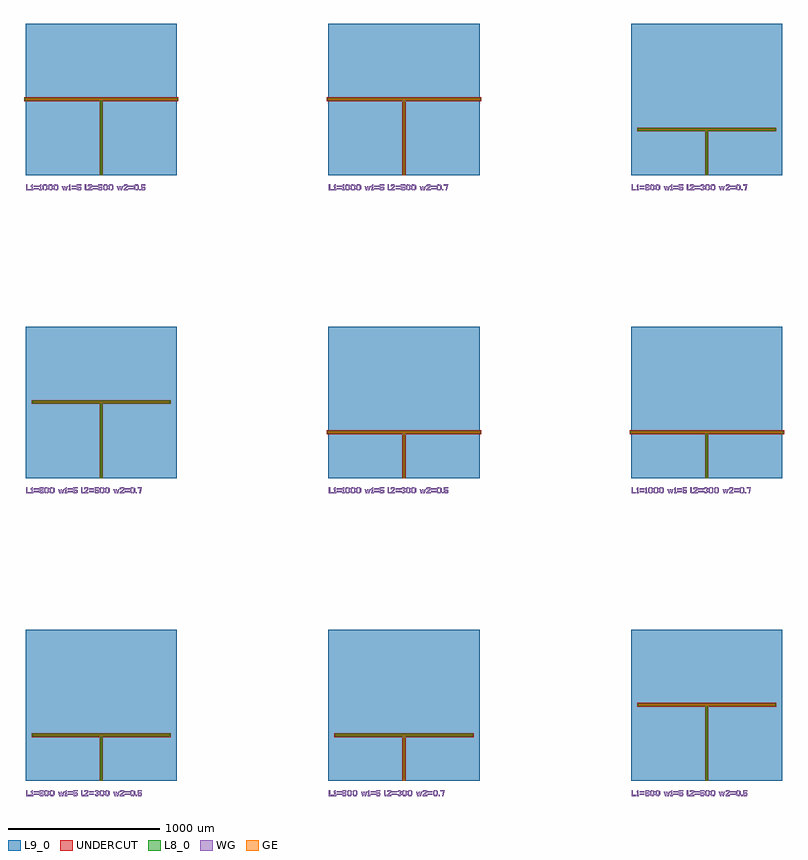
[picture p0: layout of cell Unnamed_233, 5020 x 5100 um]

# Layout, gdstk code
import gdstk
lib = gdstk.Library(unit=1e-6, precision=1e-09)
def R(c, l, rs):  # rectangles x0, y0, x1, y1
    for r in rs: c.add(gdstk.rectangle(r[:2], r[2:], *l))
def P(c, l, *ps):  # polygons
    for p in ps: c.add(gdstk.Polygon(p, *l))
WG = (1, 0)
GE = (5, 0)
UNDERCUT = (6, 0)
L8_0 = (8, 0)
L9_0 = (9, 0)

rectangle_s1010_15_l8_0_ = lib.new_cell('rectangle_S1010_15_L8_0_e804bbd6')
R(rectangle_s1010_15_l8_0_, L8_0, [(0,0,1010,15)])

rectangle_s1020_25_l6_0_ = lib.new_cell('rectangle_S1020_25_L6_0_10ee7e5b')
R(rectangle_s1020_25_l6_0_, UNDERCUT, [(0,0,1020,25)])

rectangle_s0p7_500_l5_0_ = lib.new_cell('rectangle_S0p7_500_L5_0_5f5ccab6')
R(rectangle_s0p7_500_l5_0_, GE, [(0,0,0.7,500)])

rectangle_s20p7_490_l6__ = lib.new_cell('rectangle_S20p7_490_L6__c76dff1f')
R(rectangle_s20p7_490_l6__, UNDERCUT, [(0,0,20.7,490)])

rectangle_s1000_5_l5_0__ = lib.new_cell('rectangle_S1000_5_L5_0__84b42d38')
R(rectangle_s1000_5_l5_0__, GE, [(0,0,1000,5)])

rectangle_s10p7_495_l8__ = lib.new_cell('rectangle_S10p7_495_L8__2b4584b7')
R(rectangle_s10p7_495_l8__, L8_0, [(0,0,10.7,495)])

unnamed_231 = lib.new_cell('Unnamed_231')
unnamed_231.add(gdstk.Reference(rectangle_s1010_15_l8_0_, (-505,495)))
unnamed_231.add(gdstk.Reference(rectangle_s1020_25_l6_0_, (-510,490)))
unnamed_231.add(gdstk.Reference(rectangle_s0p7_500_l5_0_, (-0.35,0)))
unnamed_231.add(gdstk.Reference(rectangle_s20p7_490_l6__, (-10.35,0)))
unnamed_231.add(gdstk.Reference(rectangle_s1000_5_l5_0__, (-500,500)))
unnamed_231.add(gdstk.Reference(rectangle_s10p7_495_l8__, (-5.35,0)))

text_tl11000_w15_l2500__ = lib.new_cell('text_TL11000_w15_l2500__574275dc')
R(text_tl11000_w15_l2500__, WG, [(752,0,760,8), (56,8,88,16), (304,8,336,16), (444,8,476,16), (680,8,712,16), (56,24,88,32), (304,24,336,32), (444,24,476,32), (680,24,712,32)])
P(text_tl11000_w15_l2500__, WG, [(396,0),(392,4),(392,40),(400,40),(400,8),(408,8),(408,0)],
  [(344,0),(340,4),(340,12),(348,12),(348,8),(360,8),(360,16),(344,16),(340,20),(340,40),(368,40),(368,32),(348,32),(348,24),(364,24),(368,20),(368,4),(364,0)],
  [(484,0),(480,4),(480,12),(488,12),(488,8),(500,8),(500,16),(484,16),(480,20),(480,40),(508,40),(508,32),(488,32),(488,24),(504,24),(508,20),(508,4),(504,0)],
  [(768,0),(764,4),(764,12),(772,12),(772,8),(784,8),(784,16),(768,16),(764,20),(764,40),(792,40),(792,32),(772,32),(772,24),(788,24),(792,20),(792,4),(788,0)],
  [(126.8,0),(128.8,8),(132,8),(136,12),(136,28),(132,32),(134,40),(136,40),(144,32),(144,8),(136,0)],
  [(162.8,0),(164.8,8),(168,8),(172,12),(172,28),(168,32),(170,40),(172,40),(180,32),(180,8),(172,0)],
  [(198.8,0),(200.8,8),(204,8),(208,12),(208,28),(204,32),(206,40),(208,40),(216,32),(216,8),(208,0)],
  [(526.8,0),(528.8,8),(532,8),(536,12),(536,28),(532,32),(534,40),(536,40),(544,32),(544,8),(536,0)],
  [(562.8,0),(564.8,8),(568,8),(572,12),(572,28),(568,32),(570,40),(572,40),(580,32),(580,8),(572,0)],
  [(730.8,0),(732.8,8),(736,8),(740,12),(740,28),(736,32),(738,40),(740,40),(748,32),(748,8),(740,0)],
  [(120,0),(112,8),(112,32),(120,40),(129.2,40),(127.2,32),(124,32),(120,28),(120,12),(124,8),(122,0)],
  [(156,0),(148,8),(148,32),(156,40),(165.2,40),(163.2,32),(160,32),(156,28),(156,12),(160,8),(158,0)],
  [(192,0),(184,8),(184,32),(192,40),(201.2,40),(199.2,32),(196,32),(192,28),(192,12),(196,8),(194,0)],
  [(520,0),(512,8),(512,32),(520,40),(529.2,40),(527.2,32),(524,32),(520,28),(520,12),(524,8),(522,0)],
  [(556,0),(548,8),(548,32),(556,40),(565.2,40),(563.2,32),(560,32),(556,28),(556,12),(560,8),(558,0)],
  [(724,0),(716,8),(716,32),(724,40),(733.2,40),(731.2,32),(728,32),(724,28),(724,12),(728,8),(726,0)],
  [(248,0),(240,28),(248,28),(252,14),(256,28),(264,28),(268,14),(272,28),(280,28),(272,0),(264,0),(260,14),(256,0)],
  [(612,0),(604,28),(612,28),(616,14),(620,28),(628,28),(632,14),(636,28),(644,28),(636,0),(628,0),(624,14),(620,0)],
  [(36,0),(36,8),(40,8),(40,24),(36,24),(36,32),(44,40),(48,40),(48,8),(52,8),(52,0)],
  [(92,0),(92,8),(96,8),(96,24),(92,24),(92,32),(100,40),(104,40),(104,8),(108,8),(108,0)],
  [(284,0),(284,8),(288,8),(288,24),(284,24),(284,32),(292,40),(296,40),(296,8),(300,8),(300,0)],
  [(412,0),(412,8),(432,28),(432,32),(420,32),(420,28),(412,28),(412,36),(416,40),(436,40),(440,36),(440,24),(424,8),(440,8),(440,0)],
  [(648,0),(648,8),(668,28),(668,32),(656,32),(656,28),(648,28),(648,36),(652,40),(672,40),(676,36),(676,24),(660,8),(676,8),(676,0)],
  [(4,0),(4,40),(12,40),(12,8),(32,8),(32,0)])

rectangle_s10p5_495_l8__ = lib.new_cell('rectangle_S10p5_495_L8__a2ef8117')
R(rectangle_s10p5_495_l8__, L8_0, [(0,0,10.5,495)])

rectangle_s20p5_490_l6__ = lib.new_cell('rectangle_S20p5_490_L6__59c9b7bc')
R(rectangle_s20p5_490_l6__, UNDERCUT, [(0,0,20.5,490)])

rectangle_s0p5_500_l5_0_ = lib.new_cell('rectangle_S0p5_500_L5_0_ba7ba93c')
R(rectangle_s0p5_500_l5_0_, GE, [(0,0,0.5,500)])

unnamed_230 = lib.new_cell('Unnamed_230')
unnamed_230.add(gdstk.Reference(rectangle_s1010_15_l8_0_, (-505,495)))
unnamed_230.add(gdstk.Reference(rectangle_s10p5_495_l8__, (-5.25,0)))
unnamed_230.add(gdstk.Reference(rectangle_s1020_25_l6_0_, (-510,490)))
unnamed_230.add(gdstk.Reference(rectangle_s20p5_490_l6__, (-10.25,0)))
unnamed_230.add(gdstk.Reference(rectangle_s1000_5_l5_0__, (-500,500)))
unnamed_230.add(gdstk.Reference(rectangle_s0p5_500_l5_0_, (-0.25,0)))

rectangle_s0p7_300_l5_0_ = lib.new_cell('rectangle_S0p7_300_L5_0_106584ea')
R(rectangle_s0p7_300_l5_0_, GE, [(0,0,0.7,300)])

rectangle_s20p7_290_l6__ = lib.new_cell('rectangle_S20p7_290_L6__7863e632')
R(rectangle_s20p7_290_l6__, UNDERCUT, [(0,0,20.7,290)])

rectangle_s10p7_295_l8__ = lib.new_cell('rectangle_S10p7_295_L8__5a437f7c')
R(rectangle_s10p7_295_l8__, L8_0, [(0,0,10.7,295)])

unnamed_229 = lib.new_cell('Unnamed_229')
unnamed_229.add(gdstk.Reference(rectangle_s0p7_300_l5_0_, (-0.35,0)))
unnamed_229.add(gdstk.Reference(rectangle_s1020_25_l6_0_, (-510,290)))
unnamed_229.add(gdstk.Reference(rectangle_s20p7_290_l6__, (-10.35,0)))
unnamed_229.add(gdstk.Reference(rectangle_s1000_5_l5_0__, (-500,300)))
unnamed_229.add(gdstk.Reference(rectangle_s1010_15_l8_0_, (-505,295)))
unnamed_229.add(gdstk.Reference(rectangle_s10p7_295_l8__, (-5.35,0)))

rectangle_s910_15_l8_0__ = lib.new_cell('rectangle_S910_15_L8_0__1d112a65')
R(rectangle_s910_15_l8_0__, L8_0, [(0,0,910,15)])

rectangle_s920_25_l6_0__ = lib.new_cell('rectangle_S920_25_L6_0__c2643c97')
R(rectangle_s920_25_l6_0__, UNDERCUT, [(0,0,920,25)])

rectangle_s900_5_l5_0_c_ = lib.new_cell('rectangle_S900_5_L5_0_C_e98a737c')
R(rectangle_s900_5_l5_0_c_, GE, [(0,0,900,5)])

unnamed_226 = lib.new_cell('Unnamed_226')
unnamed_226.add(gdstk.Reference(rectangle_s910_15_l8_0__, (-455,495)))
unnamed_226.add(gdstk.Reference(rectangle_s10p5_495_l8__, (-5.25,0)))
unnamed_226.add(gdstk.Reference(rectangle_s920_25_l6_0__, (-460,490)))
unnamed_226.add(gdstk.Reference(rectangle_s20p5_490_l6__, (-10.25,0)))
unnamed_226.add(gdstk.Reference(rectangle_s900_5_l5_0_c_, (-450,500)))
unnamed_226.add(gdstk.Reference(rectangle_s0p5_500_l5_0_, (-0.25,0)))

text_tl11000_w15_l2300__ = lib.new_cell('text_TL11000_w15_l2300__ef06bfb9')
R(text_tl11000_w15_l2300__, WG, [(752,0,760,8), (56,8,88,16), (304,8,336,16), (444,8,476,16), (680,8,712,16), (56,24,88,32), (304,24,336,32), (444,24,476,32), (680,24,712,32)])
P(text_tl11000_w15_l2300__, WG, [(488,0),(480,8),(480,12),(488,12),(492,8),(496,8),(500,12),(496,16),(496,24),(500,28),(496,32),(492,32),(488,28),(480,28),(480,32),(488,40),(500,40),(508,32),(508,24),(504,20),(508,16),(508,8),(500,0)],
  [(396,0),(392,4),(392,40),(400,40),(400,8),(408,8),(408,0)],
  [(344,0),(340,4),(340,12),(348,12),(348,8),(360,8),(360,16),(344,16),(340,20),(340,40),(368,40),(368,32),(348,32),(348,24),(364,24),(368,20),(368,4),(364,0)],
  [(768,0),(764,4),(764,12),(772,12),(772,8),(784,8),(784,16),(768,16),(764,20),(764,40),(792,40),(792,32),(772,32),(772,24),(788,24),(792,20),(792,4),(788,0)],
  [(126.8,0),(128.8,8),(132,8),(136,12),(136,28),(132,32),(134,40),(136,40),(144,32),(144,8),(136,0)],
  [(162.8,0),(164.8,8),(168,8),(172,12),(172,28),(168,32),(170,40),(172,40),(180,32),(180,8),(172,0)],
  [(198.8,0),(200.8,8),(204,8),(208,12),(208,28),(204,32),(206,40),(208,40),(216,32),(216,8),(208,0)],
  [(526.8,0),(528.8,8),(532,8),(536,12),(536,28),(532,32),(534,40),(536,40),(544,32),(544,8),(536,0)],
  [(562.8,0),(564.8,8),(568,8),(572,12),(572,28),(568,32),(570,40),(572,40),(580,32),(580,8),(572,0)],
  [(730.8,0),(732.8,8),(736,8),(740,12),(740,28),(736,32),(738,40),(740,40),(748,32),(748,8),(740,0)],
  [(120,0),(112,8),(112,32),(120,40),(129.2,40),(127.2,32),(124,32),(120,28),(120,12),(124,8),(122,0)],
  [(156,0),(148,8),(148,32),(156,40),(165.2,40),(163.2,32),(160,32),(156,28),(156,12),(160,8),(158,0)],
  [(192,0),(184,8),(184,32),(192,40),(201.2,40),(199.2,32),(196,32),(192,28),(192,12),(196,8),(194,0)],
  [(520,0),(512,8),(512,32),(520,40),(529.2,40),(527.2,32),(524,32),(520,28),(520,12),(524,8),(522,0)],
  [(556,0),(548,8),(548,32),(556,40),(565.2,40),(563.2,32),(560,32),(556,28),(556,12),(560,8),(558,0)],
  [(724,0),(716,8),(716,32),(724,40),(733.2,40),(731.2,32),(728,32),(724,28),(724,12),(728,8),(726,0)],
  [(248,0),(240,28),(248,28),(252,14),(256,28),(264,28),(268,14),(272,28),(280,28),(272,0),(264,0),(260,14),(256,0)],
  [(612,0),(604,28),(612,28),(616,14),(620,28),(628,28),(632,14),(636,28),(644,28),(636,0),(628,0),(624,14),(620,0)],
  [(36,0),(36,8),(40,8),(40,24),(36,24),(36,32),(44,40),(48,40),(48,8),(52,8),(52,0)],
  [(92,0),(92,8),(96,8),(96,24),(92,24),(92,32),(100,40),(104,40),(104,8),(108,8),(108,0)],
  [(284,0),(284,8),(288,8),(288,24),(284,24),(284,32),(292,40),(296,40),(296,8),(300,8),(300,0)],
  [(412,0),(412,8),(432,28),(432,32),(420,32),(420,28),(412,28),(412,36),(416,40),(436,40),(440,36),(440,24),(424,8),(440,8),(440,0)],
  [(648,0),(648,8),(668,28),(668,32),(656,32),(656,28),(648,28),(648,36),(652,40),(672,40),(676,36),(676,24),(660,8),(676,8),(676,0)],
  [(4,0),(4,40),(12,40),(12,8),(32,8),(32,0)])

c_text_tl11000_w15_l2300__ = lib.new_cell('text_TL11000_w15_l2300__20e685f7')
R(c_text_tl11000_w15_l2300__, WG, [(752,0,760,8), (56,8,88,16), (304,8,336,16), (444,8,476,16), (680,8,712,16), (56,24,88,32), (304,24,336,32), (444,24,476,32), (680,24,712,32)])
P(c_text_tl11000_w15_l2300__, WG, [(776,0),(782.4,32),(764,32),(764,40),(792,40),(784,0)],
  [(488,0),(480,8),(480,12),(488,12),(492,8),(496,8),(500,12),(496,16),(496,24),(500,28),(496,32),(492,32),(488,28),(480,28),(480,32),(488,40),(500,40),(508,32),(508,24),(504,20),(508,16),(508,8),(500,0)],
  [(396,0),(392,4),(392,40),(400,40),(400,8),(408,8),(408,0)],
  [(344,0),(340,4),(340,12),(348,12),(348,8),(360,8),(360,16),(344,16),(340,20),(340,40),(368,40),(368,32),(348,32),(348,24),(364,24),(368,20),(368,4),(364,0)],
  [(4,0),(4,40),(12,40),(12,8),(32,8),(32,0)],
  [(248,0),(240,28),(248,28),(252,14),(256,28),(264,28),(268,14),(272,28),(280,28),(272,0),(264,0),(260,14),(256,0)],
  [(612,0),(604,28),(612,28),(616,14),(620,28),(628,28),(632,14),(636,28),(644,28),(636,0),(628,0),(624,14),(620,0)],
  [(126.8,0),(128.8,8),(132,8),(136,12),(136,28),(132,32),(134,40),(136,40),(144,32),(144,8),(136,0)],
  [(162.8,0),(164.8,8),(168,8),(172,12),(172,28),(168,32),(170,40),(172,40),(180,32),(180,8),(172,0)],
  [(198.8,0),(200.8,8),(204,8),(208,12),(208,28),(204,32),(206,40),(208,40),(216,32),(216,8),(208,0)],
  [(526.8,0),(528.8,8),(532,8),(536,12),(536,28),(532,32),(534,40),(536,40),(544,32),(544,8),(536,0)],
  [(562.8,0),(564.8,8),(568,8),(572,12),(572,28),(568,32),(570,40),(572,40),(580,32),(580,8),(572,0)],
  [(730.8,0),(732.8,8),(736,8),(740,12),(740,28),(736,32),(738,40),(740,40),(748,32),(748,8),(740,0)],
  [(120,0),(112,8),(112,32),(120,40),(129.2,40),(127.2,32),(124,32),(120,28),(120,12),(124,8),(122,0)],
  [(156,0),(148,8),(148,32),(156,40),(165.2,40),(163.2,32),(160,32),(156,28),(156,12),(160,8),(158,0)],
  [(192,0),(184,8),(184,32),(192,40),(201.2,40),(199.2,32),(196,32),(192,28),(192,12),(196,8),(194,0)],
  [(520,0),(512,8),(512,32),(520,40),(529.2,40),(527.2,32),(524,32),(520,28),(520,12),(524,8),(522,0)],
  [(556,0),(548,8),(548,32),(556,40),(565.2,40),(563.2,32),(560,32),(556,28),(556,12),(560,8),(558,0)],
  [(724,0),(716,8),(716,32),(724,40),(733.2,40),(731.2,32),(728,32),(724,28),(724,12),(728,8),(726,0)],
  [(36,0),(36,8),(40,8),(40,24),(36,24),(36,32),(44,40),(48,40),(48,8),(52,8),(52,0)],
  [(92,0),(92,8),(96,8),(96,24),(92,24),(92,32),(100,40),(104,40),(104,8),(108,8),(108,0)],
  [(284,0),(284,8),(288,8),(288,24),(284,24),(284,32),(292,40),(296,40),(296,8),(300,8),(300,0)],
  [(412,0),(412,8),(432,28),(432,32),(420,32),(420,28),(412,28),(412,36),(416,40),(436,40),(440,36),(440,24),(424,8),(440,8),(440,0)],
  [(648,0),(648,8),(668,28),(668,32),(656,32),(656,28),(648,28),(648,36),(652,40),(672,40),(676,36),(676,24),(660,8),(676,8),(676,0)])

rectangle_s10p5_295_l8__ = lib.new_cell('rectangle_S10p5_295_L8__ffa8a64a')
R(rectangle_s10p5_295_l8__, L8_0, [(0,0,10.5,295)])

rectangle_s20p5_290_l6__ = lib.new_cell('rectangle_S20p5_290_L6__af2a2720')
R(rectangle_s20p5_290_l6__, UNDERCUT, [(0,0,20.5,290)])

rectangle_s0p5_300_l5_0_ = lib.new_cell('rectangle_S0p5_300_L5_0_bcf38b65')
R(rectangle_s0p5_300_l5_0_, GE, [(0,0,0.5,300)])

unnamed_228 = lib.new_cell('Unnamed_228')
unnamed_228.add(gdstk.Reference(rectangle_s1010_15_l8_0_, (-505,295)))
unnamed_228.add(gdstk.Reference(rectangle_s10p5_295_l8__, (-5.25,0)))
unnamed_228.add(gdstk.Reference(rectangle_s1000_5_l5_0__, (-500,300)))
unnamed_228.add(gdstk.Reference(rectangle_s1020_25_l6_0_, (-510,290)))
unnamed_228.add(gdstk.Reference(rectangle_s20p5_290_l6__, (-10.25,0)))
unnamed_228.add(gdstk.Reference(rectangle_s0p5_300_l5_0_, (-0.25,0)))

unnamed_224 = lib.new_cell('Unnamed_224')
unnamed_224.add(gdstk.Reference(rectangle_s910_15_l8_0__, (-455,295)))
unnamed_224.add(gdstk.Reference(rectangle_s10p5_295_l8__, (-5.25,0)))
unnamed_224.add(gdstk.Reference(rectangle_s920_25_l6_0__, (-460,290)))
unnamed_224.add(gdstk.Reference(rectangle_s0p5_300_l5_0_, (-0.25,0)))
unnamed_224.add(gdstk.Reference(rectangle_s900_5_l5_0_c_, (-450,300)))
unnamed_224.add(gdstk.Reference(rectangle_s20p5_290_l6__, (-10.25,0)))

text_tl1900_w15_l2500_w_ = lib.new_cell('text_TL1900_w15_l2500_w_924e79f2')
R(text_tl1900_w15_l2500_w_, WG, [(728,0,736,8), (56,8,88,16), (280,8,312,16), (420,8,452,16), (656,8,688,16), (56,24,88,32), (280,24,312,32), (420,24,452,32), (656,24,688,32)])
P(text_tl1900_w15_l2500_w_, WG, [(752,0),(758.4,32),(740,32),(740,40),(768,40),(760,0)],
  [(372,0),(368,4),(368,40),(376,40),(376,8),(384,8),(384,0)],
  [(320,0),(316,4),(316,12),(324,12),(324,8),(336,8),(336,16),(320,16),(316,20),(316,40),(344,40),(344,32),(324,32),(324,24),(340,24),(344,20),(344,4),(340,0)],
  [(460,0),(456,4),(456,12),(464,12),(464,8),(476,8),(476,16),(460,16),(456,20),(456,40),(484,40),(484,32),(464,32),(464,24),(480,24),(484,20),(484,4),(480,0)],
  [(4,0),(4,40),(12,40),(12,8),(32,8),(32,0)],
  [(224,0),(216,28),(224,28),(228,14),(232,28),(240,28),(244,14),(248,28),(256,28),(248,0),(240,0),(236,14),(232,0)],
  [(588,0),(580,28),(588,28),(592,14),(596,28),(604,28),(608,14),(612,28),(620,28),(612,0),(604,0),(600,14),(596,0)],
  [(138.8,0),(140.8,8),(144,8),(148,12),(148,28),(144,32),(146,40),(148,40),(156,32),(156,8),(148,0)],
  [(174.8,0),(176.8,8),(180,8),(184,12),(184,28),(180,32),(182,40),(184,40),(192,32),(192,8),(184,0)],
  [(502.8,0),(504.8,8),(508,8),(512,12),(512,28),(508,32),(510,40),(512,40),(520,32),(520,8),(512,0)],
  [(538.8,0),(540.8,8),(544,8),(548,12),(548,28),(544,32),(546,40),(548,40),(556,32),(556,8),(548,0)],
  [(706.8,0),(708.8,8),(712,8),(716,12),(716,28),(712,32),(714,40),(716,40),(724,32),(724,8),(716,0)],
  [(132,0),(124,8),(124,32),(132,40),(141.2,40),(139.2,32),(136,32),(132,28),(132,12),(136,8),(134,0)],
  [(168,0),(160,8),(160,32),(168,40),(177.2,40),(175.2,32),(172,32),(168,28),(168,12),(172,8),(170,0)],
  [(496,0),(488,8),(488,32),(496,40),(505.2,40),(503.2,32),(500,32),(496,28),(496,12),(500,8),(498,0)],
  [(532,0),(524,8),(524,32),(532,40),(541.2,40),(539.2,32),(536,32),(532,28),(532,12),(536,8),(534,0)],
  [(700,0),(692,8),(692,32),(700,40),(709.2,40),(707.2,32),(704,32),(700,28),(700,12),(704,8),(702,0)],
  [(96,0),(92,4),(92,12),(100,12),(100,8),(112,8),(112,16),(96,16),(92,20),(92,36),(96,40),(104,40),(104,32),(100,32),(100,24),(112,24),(112,32),(108,32),(108,40),(116,40),(120,36),(120,4),(116,0)],
  [(36,0),(36,8),(40,8),(40,24),(36,24),(36,32),(44,40),(48,40),(48,8),(52,8),(52,0)],
  [(260,0),(260,8),(264,8),(264,24),(260,24),(260,32),(268,40),(272,40),(272,8),(276,8),(276,0)],
  [(388,0),(388,8),(408,28),(408,32),(396,32),(396,28),(388,28),(388,36),(392,40),(412,40),(416,36),(416,24),(400,8),(416,8),(416,0)],
  [(624,0),(624,8),(644,28),(644,32),(632,32),(632,28),(624,28),(624,36),(628,40),(648,40),(652,36),(652,24),(636,8),(652,8),(652,0)])

unnamed_227 = lib.new_cell('Unnamed_227')
unnamed_227.add(gdstk.Reference(rectangle_s920_25_l6_0__, (-460,490)))
unnamed_227.add(gdstk.Reference(rectangle_s0p7_500_l5_0_, (-0.35,0)))
unnamed_227.add(gdstk.Reference(rectangle_s20p7_490_l6__, (-10.35,0)))
unnamed_227.add(gdstk.Reference(rectangle_s900_5_l5_0_c_, (-450,500)))
unnamed_227.add(gdstk.Reference(rectangle_s910_15_l8_0__, (-455,495)))
unnamed_227.add(gdstk.Reference(rectangle_s10p7_495_l8__, (-5.35,0)))

c_text_tl1900_w15_l2500_w_ = lib.new_cell('text_TL1900_w15_l2500_w_5df65d30')
R(c_text_tl1900_w15_l2500_w_, WG, [(728,0,736,8), (56,8,88,16), (280,8,312,16), (420,8,452,16), (656,8,688,16), (56,24,88,32), (280,24,312,32), (420,24,452,32), (656,24,688,32)])
P(c_text_tl1900_w15_l2500_w_, WG, [(372,0),(368,4),(368,40),(376,40),(376,8),(384,8),(384,0)],
  [(320,0),(316,4),(316,12),(324,12),(324,8),(336,8),(336,16),(320,16),(316,20),(316,40),(344,40),(344,32),(324,32),(324,24),(340,24),(344,20),(344,4),(340,0)],
  [(460,0),(456,4),(456,12),(464,12),(464,8),(476,8),(476,16),(460,16),(456,20),(456,40),(484,40),(484,32),(464,32),(464,24),(480,24),(484,20),(484,4),(480,0)],
  [(744,0),(740,4),(740,12),(748,12),(748,8),(760,8),(760,16),(744,16),(740,20),(740,40),(768,40),(768,32),(748,32),(748,24),(764,24),(768,20),(768,4),(764,0)],
  [(138.8,0),(140.8,8),(144,8),(148,12),(148,28),(144,32),(146,40),(148,40),(156,32),(156,8),(148,0)],
  [(174.8,0),(176.8,8),(180,8),(184,12),(184,28),(180,32),(182,40),(184,40),(192,32),(192,8),(184,0)],
  [(502.8,0),(504.8,8),(508,8),(512,12),(512,28),(508,32),(510,40),(512,40),(520,32),(520,8),(512,0)],
  [(538.8,0),(540.8,8),(544,8),(548,12),(548,28),(544,32),(546,40),(548,40),(556,32),(556,8),(548,0)],
  [(706.8,0),(708.8,8),(712,8),(716,12),(716,28),(712,32),(714,40),(716,40),(724,32),(724,8),(716,0)],
  [(132,0),(124,8),(124,32),(132,40),(141.2,40),(139.2,32),(136,32),(132,28),(132,12),(136,8),(134,0)],
  [(168,0),(160,8),(160,32),(168,40),(177.2,40),(175.2,32),(172,32),(168,28),(168,12),(172,8),(170,0)],
  [(496,0),(488,8),(488,32),(496,40),(505.2,40),(503.2,32),(500,32),(496,28),(496,12),(500,8),(498,0)],
  [(532,0),(524,8),(524,32),(532,40),(541.2,40),(539.2,32),(536,32),(532,28),(532,12),(536,8),(534,0)],
  [(700,0),(692,8),(692,32),(700,40),(709.2,40),(707.2,32),(704,32),(700,28),(700,12),(704,8),(702,0)],
  [(96,0),(92,4),(92,12),(100,12),(100,8),(112,8),(112,16),(96,16),(92,20),(92,36),(96,40),(104,40),(104,32),(100,32),(100,24),(112,24),(112,32),(108,32),(108,40),(116,40),(120,36),(120,4),(116,0)],
  [(224,0),(216,28),(224,28),(228,14),(232,28),(240,28),(244,14),(248,28),(256,28),(248,0),(240,0),(236,14),(232,0)],
  [(588,0),(580,28),(588,28),(592,14),(596,28),(604,28),(608,14),(612,28),(620,28),(612,0),(604,0),(600,14),(596,0)],
  [(36,0),(36,8),(40,8),(40,24),(36,24),(36,32),(44,40),(48,40),(48,8),(52,8),(52,0)],
  [(260,0),(260,8),(264,8),(264,24),(260,24),(260,32),(268,40),(272,40),(272,8),(276,8),(276,0)],
  [(388,0),(388,8),(408,28),(408,32),(396,32),(396,28),(388,28),(388,36),(392,40),(412,40),(416,36),(416,24),(400,8),(416,8),(416,0)],
  [(624,0),(624,8),(644,28),(644,32),(632,32),(632,28),(624,28),(624,36),(628,40),(648,40),(652,36),(652,24),(636,8),(652,8),(652,0)],
  [(4,0),(4,40),(12,40),(12,8),(32,8),(32,0)])

unnamed_225 = lib.new_cell('Unnamed_225')
unnamed_225.add(gdstk.Reference(rectangle_s910_15_l8_0__, (-455,295)))
unnamed_225.add(gdstk.Reference(rectangle_s0p7_300_l5_0_, (-0.35,0)))
unnamed_225.add(gdstk.Reference(rectangle_s20p7_290_l6__, (-10.35,0)))
unnamed_225.add(gdstk.Reference(rectangle_s900_5_l5_0_c_, (-450,300)))
unnamed_225.add(gdstk.Reference(rectangle_s10p7_295_l8__, (-5.35,0)))
unnamed_225.add(gdstk.Reference(rectangle_s920_25_l6_0__, (-460,290)))

c_text_tl11000_w15_l2500__ = lib.new_cell('text_TL11000_w15_l2500__45f399b7')
R(c_text_tl11000_w15_l2500__, WG, [(752,0,760,8), (56,8,88,16), (304,8,336,16), (444,8,476,16), (680,8,712,16), (56,24,88,32), (304,24,336,32), (444,24,476,32), (680,24,712,32)])
P(c_text_tl11000_w15_l2500__, WG, [(776,0),(782.4,32),(764,32),(764,40),(792,40),(784,0)],
  [(396,0),(392,4),(392,40),(400,40),(400,8),(408,8),(408,0)],
  [(344,0),(340,4),(340,12),(348,12),(348,8),(360,8),(360,16),(344,16),(340,20),(340,40),(368,40),(368,32),(348,32),(348,24),(364,24),(368,20),(368,4),(364,0)],
  [(484,0),(480,4),(480,12),(488,12),(488,8),(500,8),(500,16),(484,16),(480,20),(480,40),(508,40),(508,32),(488,32),(488,24),(504,24),(508,20),(508,4),(504,0)],
  [(126.8,0),(128.8,8),(132,8),(136,12),(136,28),(132,32),(134,40),(136,40),(144,32),(144,8),(136,0)],
  [(162.8,0),(164.8,8),(168,8),(172,12),(172,28),(168,32),(170,40),(172,40),(180,32),(180,8),(172,0)],
  [(198.8,0),(200.8,8),(204,8),(208,12),(208,28),(204,32),(206,40),(208,40),(216,32),(216,8),(208,0)],
  [(526.8,0),(528.8,8),(532,8),(536,12),(536,28),(532,32),(534,40),(536,40),(544,32),(544,8),(536,0)],
  [(562.8,0),(564.8,8),(568,8),(572,12),(572,28),(568,32),(570,40),(572,40),(580,32),(580,8),(572,0)],
  [(730.8,0),(732.8,8),(736,8),(740,12),(740,28),(736,32),(738,40),(740,40),(748,32),(748,8),(740,0)],
  [(120,0),(112,8),(112,32),(120,40),(129.2,40),(127.2,32),(124,32),(120,28),(120,12),(124,8),(122,0)],
  [(156,0),(148,8),(148,32),(156,40),(165.2,40),(163.2,32),(160,32),(156,28),(156,12),(160,8),(158,0)],
  [(192,0),(184,8),(184,32),(192,40),(201.2,40),(199.2,32),(196,32),(192,28),(192,12),(196,8),(194,0)],
  [(520,0),(512,8),(512,32),(520,40),(529.2,40),(527.2,32),(524,32),(520,28),(520,12),(524,8),(522,0)],
  [(556,0),(548,8),(548,32),(556,40),(565.2,40),(563.2,32),(560,32),(556,28),(556,12),(560,8),(558,0)],
  [(724,0),(716,8),(716,32),(724,40),(733.2,40),(731.2,32),(728,32),(724,28),(724,12),(728,8),(726,0)],
  [(248,0),(240,28),(248,28),(252,14),(256,28),(264,28),(268,14),(272,28),(280,28),(272,0),(264,0),(260,14),(256,0)],
  [(612,0),(604,28),(612,28),(616,14),(620,28),(628,28),(632,14),(636,28),(644,28),(636,0),(628,0),(624,14),(620,0)],
  [(36,0),(36,8),(40,8),(40,24),(36,24),(36,32),(44,40),(48,40),(48,8),(52,8),(52,0)],
  [(92,0),(92,8),(96,8),(96,24),(92,24),(92,32),(100,40),(104,40),(104,8),(108,8),(108,0)],
  [(284,0),(284,8),(288,8),(288,24),(284,24),(284,32),(292,40),(296,40),(296,8),(300,8),(300,0)],
  [(412,0),(412,8),(432,28),(432,32),(420,32),(420,28),(412,28),(412,36),(416,40),(436,40),(440,36),(440,24),(424,8),(440,8),(440,0)],
  [(648,0),(648,8),(668,28),(668,32),(656,32),(656,28),(648,28),(648,36),(652,40),(672,40),(676,36),(676,24),(660,8),(676,8),(676,0)],
  [(4,0),(4,40),(12,40),(12,8),(32,8),(32,0)])

rectangle_s1000_1000_l9_ = lib.new_cell('rectangle_S1000_1000_L9_afc64d79')
R(rectangle_s1000_1000_l9_, L9_0, [(0,0,1000,1000)])

text_tl1900_w15_l2300_w_ = lib.new_cell('text_TL1900_w15_l2300_w_2759acd3')
R(text_tl1900_w15_l2300_w_, WG, [(728,0,736,8), (56,8,88,16), (280,8,312,16), (420,8,452,16), (656,8,688,16), (56,24,88,32), (280,24,312,32), (420,24,452,32), (656,24,688,32)])
P(text_tl1900_w15_l2300_w_, WG, [(464,0),(456,8),(456,12),(464,12),(468,8),(472,8),(476,12),(472,16),(472,24),(476,28),(472,32),(468,32),(464,28),(456,28),(456,32),(464,40),(476,40),(484,32),(484,24),(480,20),(484,16),(484,8),(476,0)],
  [(372,0),(368,4),(368,40),(376,40),(376,8),(384,8),(384,0)],
  [(320,0),(316,4),(316,12),(324,12),(324,8),(336,8),(336,16),(320,16),(316,20),(316,40),(344,40),(344,32),(324,32),(324,24),(340,24),(344,20),(344,4),(340,0)],
  [(744,0),(740,4),(740,12),(748,12),(748,8),(760,8),(760,16),(744,16),(740,20),(740,40),(768,40),(768,32),(748,32),(748,24),(764,24),(768,20),(768,4),(764,0)],
  [(4,0),(4,40),(12,40),(12,8),(32,8),(32,0)],
  [(224,0),(216,28),(224,28),(228,14),(232,28),(240,28),(244,14),(248,28),(256,28),(248,0),(240,0),(236,14),(232,0)],
  [(588,0),(580,28),(588,28),(592,14),(596,28),(604,28),(608,14),(612,28),(620,28),(612,0),(604,0),(600,14),(596,0)],
  [(138.8,0),(140.8,8),(144,8),(148,12),(148,28),(144,32),(146,40),(148,40),(156,32),(156,8),(148,0)],
  [(174.8,0),(176.8,8),(180,8),(184,12),(184,28),(180,32),(182,40),(184,40),(192,32),(192,8),(184,0)],
  [(502.8,0),(504.8,8),(508,8),(512,12),(512,28),(508,32),(510,40),(512,40),(520,32),(520,8),(512,0)],
  [(538.8,0),(540.8,8),(544,8),(548,12),(548,28),(544,32),(546,40),(548,40),(556,32),(556,8),(548,0)],
  [(706.8,0),(708.8,8),(712,8),(716,12),(716,28),(712,32),(714,40),(716,40),(724,32),(724,8),(716,0)],
  [(132,0),(124,8),(124,32),(132,40),(141.2,40),(139.2,32),(136,32),(132,28),(132,12),(136,8),(134,0)],
  [(168,0),(160,8),(160,32),(168,40),(177.2,40),(175.2,32),(172,32),(168,28),(168,12),(172,8),(170,0)],
  [(496,0),(488,8),(488,32),(496,40),(505.2,40),(503.2,32),(500,32),(496,28),(496,12),(500,8),(498,0)],
  [(532,0),(524,8),(524,32),(532,40),(541.2,40),(539.2,32),(536,32),(532,28),(532,12),(536,8),(534,0)],
  [(700,0),(692,8),(692,32),(700,40),(709.2,40),(707.2,32),(704,32),(700,28),(700,12),(704,8),(702,0)],
  [(96,0),(92,4),(92,12),(100,12),(100,8),(112,8),(112,16),(96,16),(92,20),(92,36),(96,40),(104,40),(104,32),(100,32),(100,24),(112,24),(112,32),(108,32),(108,40),(116,40),(120,36),(120,4),(116,0)],
  [(36,0),(36,8),(40,8),(40,24),(36,24),(36,32),(44,40),(48,40),(48,8),(52,8),(52,0)],
  [(260,0),(260,8),(264,8),(264,24),(260,24),(260,32),(268,40),(272,40),(272,8),(276,8),(276,0)],
  [(388,0),(388,8),(408,28),(408,32),(396,32),(396,28),(388,28),(388,36),(392,40),(412,40),(416,36),(416,24),(400,8),(416,8),(416,0)],
  [(624,0),(624,8),(644,28),(644,32),(632,32),(632,28),(624,28),(624,36),(628,40),(648,40),(652,36),(652,24),(636,8),(652,8),(652,0)])

c_text_tl1900_w15_l2300_w_ = lib.new_cell('text_TL1900_w15_l2300_w_3a80fd20')
R(c_text_tl1900_w15_l2300_w_, WG, [(728,0,736,8), (56,8,88,16), (280,8,312,16), (420,8,452,16), (656,8,688,16), (56,24,88,32), (280,24,312,32), (420,24,452,32), (656,24,688,32)])
P(c_text_tl1900_w15_l2300_w_, WG, [(752,0),(758.4,32),(740,32),(740,40),(768,40),(760,0)],
  [(464,0),(456,8),(456,12),(464,12),(468,8),(472,8),(476,12),(472,16),(472,24),(476,28),(472,32),(468,32),(464,28),(456,28),(456,32),(464,40),(476,40),(484,32),(484,24),(480,20),(484,16),(484,8),(476,0)],
  [(372,0),(368,4),(368,40),(376,40),(376,8),(384,8),(384,0)],
  [(320,0),(316,4),(316,12),(324,12),(324,8),(336,8),(336,16),(320,16),(316,20),(316,40),(344,40),(344,32),(324,32),(324,24),(340,24),(344,20),(344,4),(340,0)],
  [(4,0),(4,40),(12,40),(12,8),(32,8),(32,0)],
  [(224,0),(216,28),(224,28),(228,14),(232,28),(240,28),(244,14),(248,28),(256,28),(248,0),(240,0),(236,14),(232,0)],
  [(588,0),(580,28),(588,28),(592,14),(596,28),(604,28),(608,14),(612,28),(620,28),(612,0),(604,0),(600,14),(596,0)],
  [(138.8,0),(140.8,8),(144,8),(148,12),(148,28),(144,32),(146,40),(148,40),(156,32),(156,8),(148,0)],
  [(174.8,0),(176.8,8),(180,8),(184,12),(184,28),(180,32),(182,40),(184,40),(192,32),(192,8),(184,0)],
  [(502.8,0),(504.8,8),(508,8),(512,12),(512,28),(508,32),(510,40),(512,40),(520,32),(520,8),(512,0)],
  [(538.8,0),(540.8,8),(544,8),(548,12),(548,28),(544,32),(546,40),(548,40),(556,32),(556,8),(548,0)],
  [(706.8,0),(708.8,8),(712,8),(716,12),(716,28),(712,32),(714,40),(716,40),(724,32),(724,8),(716,0)],
  [(132,0),(124,8),(124,32),(132,40),(141.2,40),(139.2,32),(136,32),(132,28),(132,12),(136,8),(134,0)],
  [(168,0),(160,8),(160,32),(168,40),(177.2,40),(175.2,32),(172,32),(168,28),(168,12),(172,8),(170,0)],
  [(496,0),(488,8),(488,32),(496,40),(505.2,40),(503.2,32),(500,32),(496,28),(496,12),(500,8),(498,0)],
  [(532,0),(524,8),(524,32),(532,40),(541.2,40),(539.2,32),(536,32),(532,28),(532,12),(536,8),(534,0)],
  [(700,0),(692,8),(692,32),(700,40),(709.2,40),(707.2,32),(704,32),(700,28),(700,12),(704,8),(702,0)],
  [(96,0),(92,4),(92,12),(100,12),(100,8),(112,8),(112,16),(96,16),(92,20),(92,36),(96,40),(104,40),(104,32),(100,32),(100,24),(112,24),(112,32),(108,32),(108,40),(116,40),(120,36),(120,4),(116,0)],
  [(36,0),(36,8),(40,8),(40,24),(36,24),(36,32),(44,40),(48,40),(48,8),(52,8),(52,0)],
  [(260,0),(260,8),(264,8),(264,24),(260,24),(260,32),(268,40),(272,40),(272,8),(276,8),(276,0)],
  [(388,0),(388,8),(408,28),(408,32),(396,32),(396,28),(388,28),(388,36),(392,40),(412,40),(416,36),(416,24),(400,8),(416,8),(416,0)],
  [(624,0),(624,8),(644,28),(644,32),(632,32),(632,28),(624,28),(624,36),(628,40),(648,40),(652,36),(652,24),(636,8),(652,8),(652,0)])

unnamed_233 = lib.new_cell('Unnamed_233')
unnamed_233.add(gdstk.Reference(unnamed_231, (2500,4000)))
unnamed_233.add(gdstk.Reference(text_tl11000_w15_l2500__, (0,3900)))
unnamed_233.add(gdstk.Reference(unnamed_230, (500,4000)))
unnamed_233.add(gdstk.Reference(unnamed_229, (4500,2000)))
unnamed_233.add(gdstk.Reference(unnamed_226, (4500,0)))
unnamed_233.add(gdstk.Reference(text_tl11000_w15_l2300__, (2000,1900)))
unnamed_233.add(gdstk.Reference(c_text_tl11000_w15_l2300__, (4000,1900)))
unnamed_233.add(gdstk.Reference(unnamed_228, (2500,2000)))
unnamed_233.add(gdstk.Reference(unnamed_224, (500,0)))
unnamed_233.add(gdstk.Reference(text_tl1900_w15_l2500_w_, (0,1900)))
unnamed_233.add(gdstk.Reference(unnamed_227, (500,2000)))
unnamed_233.add(gdstk.Reference(c_text_tl1900_w15_l2500_w_, (4000,-100)))
unnamed_233.add(gdstk.Reference(unnamed_225, (2500,0)))
unnamed_233.add(gdstk.Reference(unnamed_225, (4500,4000)))
unnamed_233.add(gdstk.Reference(c_text_tl11000_w15_l2500__, (2000,3900)))
unnamed_233.add(gdstk.Reference(rectangle_s1000_1000_l9_, (0,0)))
unnamed_233.add(gdstk.Reference(rectangle_s1000_1000_l9_, (2000,0)))
unnamed_233.add(gdstk.Reference(rectangle_s1000_1000_l9_, (4000,0)))
unnamed_233.add(gdstk.Reference(rectangle_s1000_1000_l9_, (0,2000)))
unnamed_233.add(gdstk.Reference(rectangle_s1000_1000_l9_, (2000,2000)))
unnamed_233.add(gdstk.Reference(rectangle_s1000_1000_l9_, (4000,2000)))
unnamed_233.add(gdstk.Reference(rectangle_s1000_1000_l9_, (0,4000)))
unnamed_233.add(gdstk.Reference(rectangle_s1000_1000_l9_, (2000,4000)))
unnamed_233.add(gdstk.Reference(rectangle_s1000_1000_l9_, (4000,4000)))
unnamed_233.add(gdstk.Reference(text_tl1900_w15_l2300_w_, (0,-100)))
unnamed_233.add(gdstk.Reference(c_text_tl1900_w15_l2300_w_, (2000,-100)))
unnamed_233.add(gdstk.Reference(c_text_tl1900_w15_l2300_w_, (4000,3900)))

lib.write_gds('Unnamed_233.gds')
